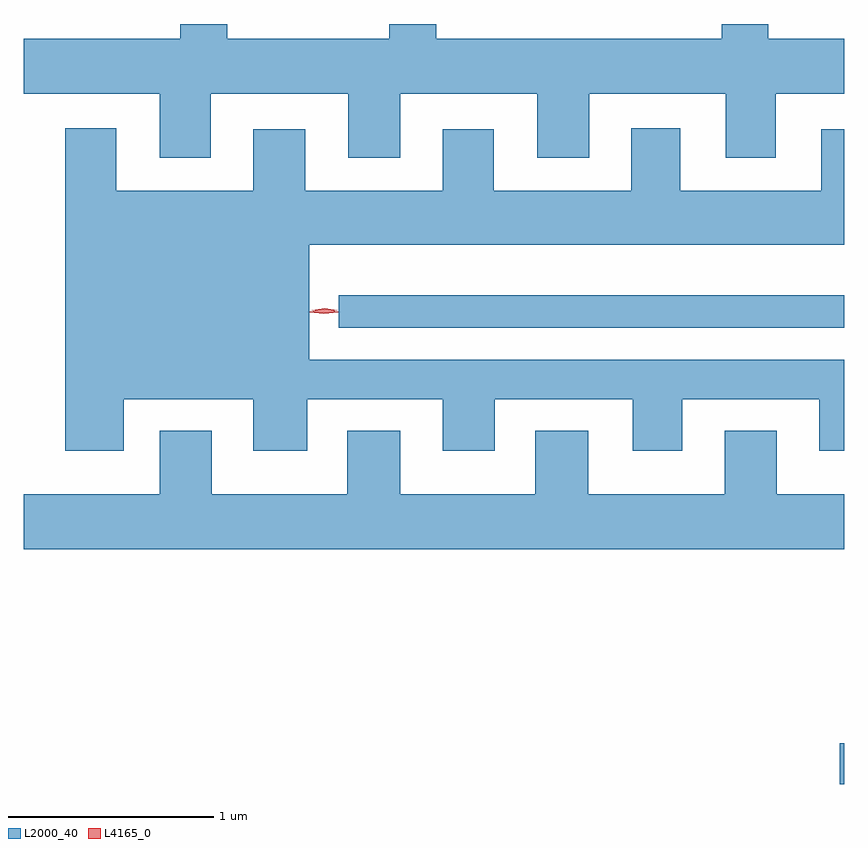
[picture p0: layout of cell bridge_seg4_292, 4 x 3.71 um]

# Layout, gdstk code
import gdstk
lib = gdstk.Library(unit=1e-6, precision=1e-09)
def R(c, l, rs):  # rectangles x0, y0, x1, y1
    for r in rs: c.add(gdstk.rectangle(r[:2], r[2:], *l))
def P(c, l, *ps):  # polygons
    for p in ps: c.add(gdstk.Polygon(p, *l))
L2000_40 = (2000, 40)
L4165_0 = (4165, 0)

bridge_seg4_292 = lib.new_cell('bridge_seg4_292')
R(bridge_seg4_292, L2000_40, [(552.706,1262.511,552.728,1262.709), (550.263,1264.736,552.728,1264.894)])
P(bridge_seg4_292, L2000_40, [(549.639,1265.876),(550.311,1265.876),(550.311,1265.566),(550.564,1265.566),(550.564,1265.876),(551.231,1265.876),(551.231,1265.566),(551.484,1265.566),(551.484,1265.876),(552.151,1265.876),(552.151,1265.566),(552.394,1265.566),(552.394,1265.876),(552.728,1265.876),(552.728,1266.144),(552.359,1266.144),(552.359,1266.217),(552.131,1266.217),(552.131,1266.144),(550.739,1266.144),(550.739,1266.217),(550.511,1266.217),(550.511,1266.144),(549.719,1266.144),(549.719,1266.217),(549.491,1266.217),(549.491,1266.144),(548.728,1266.144),(548.728,1265.876),(549.391,1265.876),(549.391,1265.566),(549.639,1265.566)],
  [(549.214,1264.386),(549.846,1264.386),(549.846,1264.136),(550.109,1264.136),(550.109,1264.386),(550.771,1264.386),(550.771,1264.136),(551.024,1264.136),(551.024,1264.386),(551.696,1264.386),(551.696,1264.136),(551.939,1264.136),(551.939,1264.386),(552.606,1264.386),(552.606,1264.136),(552.728,1264.136),(552.728,1264.579),(550.119,1264.579),(550.119,1265.141),(552.728,1265.141),(552.728,1265.704),(552.616,1265.704),(552.616,1265.404),(551.929,1265.404),(551.929,1265.709),(551.691,1265.709),(551.691,1265.404),(551.019,1265.404),(551.019,1265.704),(550.771,1265.704),(550.771,1265.404),(550.099,1265.404),(550.099,1265.704),(549.846,1265.704),(549.846,1265.404),(549.179,1265.404),(549.179,1265.709),(548.931,1265.709),(548.931,1264.136),(549.214,1264.136)],
  [(552.728,1263.924),(552.399,1263.924),(552.399,1264.234),(552.146,1264.234),(552.146,1263.924),(551.479,1263.924),(551.479,1264.234),(551.221,1264.234),(551.221,1263.924),(550.564,1263.924),(550.564,1264.234),(550.306,1264.234),(550.306,1263.924),(549.644,1263.924),(549.644,1264.234),(549.391,1264.234),(549.391,1263.924),(548.728,1263.924),(548.728,1263.656),(552.728,1263.656)])
P(bridge_seg4_292, L4165_0, [(550.195,1264.811),(550.133,1264.82),(550.132,1264.821),(550.133,1264.821),(550.195,1264.831),(550.256,1264.821),(550.257,1264.821),(550.256,1264.82)],
  [(550.191,1264.803),(550.122,1264.812),(550.122,1264.813),(550.122,1264.813),(550.191,1264.823),(550.26,1264.813),(550.26,1264.813),(550.26,1264.812)])

lib.write_gds('bridge_seg4_292.gds')
